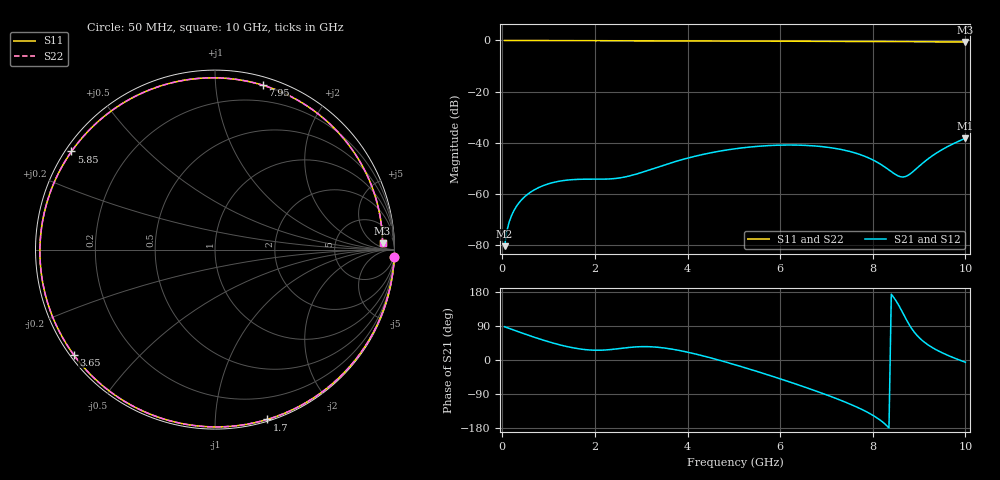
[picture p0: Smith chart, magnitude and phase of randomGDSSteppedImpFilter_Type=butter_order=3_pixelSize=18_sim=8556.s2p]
! freq	dB(S11)	phase(S11)	dB(S12)	phase(S12)
!  dB(S21)	phase(S21)	dB(S22)	phase(S22)
!S-par simulation data
#  GHz  S  DB  R 50
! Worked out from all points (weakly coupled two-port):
!   200 points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, 50 MHz to 10 GHz, reference 50 ohm
!   highest |S21| = -38.25 dB at 10 GHz (marker M1); lowest = -80.4 dB at 50 MHz (marker M2)
!   lowest |S11| = -0.6 dB at 10 GHz (marker M3), VSWR 29.40, Z = 1.13e+03 + j617 ohm
!   |S11| at or under -10 dB: nowhere
!   |S22| runs from -0.6 to 0.0 dB; largest |S21 - S12| = 0
!   S11 on the Smith chart (normalised r, x): 50 MHz: 0, -51; 1.7 GHz: 0.01, -1.35; 3.65 GHz: 0.01, -0.33; 5.85 GHz: 0.02, +0.31; 7.95 GHz: 0.07, +1.33; 10 GHz: 23, +12
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0.05  -0.00 -2.3  -80.42 87.8  -80.42 87.8  -0.00 -2.3
0.1  -0.00 -4.5  -74.41 85.5  -74.41 85.5  -0.00 -4.5
0.2  -0.01 -9.0  -68.44 81.1  -68.44 81.1  -0.01 -9.0
0.35  -0.02 -15.6  -63.72 74.5  -63.72 74.5  -0.02 -15.6
0.5  -0.03 -22.3  -60.83 68.0  -60.83 68.0  -0.03 -22.3
1  -0.05 -44.0  -56.02 48.1  -56.02 48.1  -0.05 -44.0
1.7  -0.09 -73.0  -54.26 28.8  -54.26 28.8  -0.09 -73.0
1.75  -0.09 -74.9  -54.24 28.0  -54.24 28.0  -0.09 -74.9
2.5  -0.12 -103.5  -53.82 29.7  -53.82 29.7  -0.12 -103.5
3.4  -0.15 -135.0  -49.26 33.1  -49.26 33.1  -0.15 -135.0
3.65  -0.16 -143.4  -47.81 29.0  -47.81 29.0  -0.16 -143.4
4.35  -0.19 -166.2  -44.49 10.4  -44.49 10.4  -0.19 -166.2
5.05  -0.23 171.4  -42.28 -13.4  -42.28 -13.4  -0.23 171.4
5.85  -0.28 145.6  -41.01 -43.7  -41.01 -43.7  -0.28 145.6
6.7  -0.33 117.4  -41.18 -78.7  -41.18 -78.7  -0.33 117.4
7.35  -0.37 95.0  -42.75 -108.3  -42.75 -108.3  -0.37 95.0
7.95  -0.41 73.8  -46.24 -142.2  -46.24 -142.2  -0.41 73.8
8.35  -0.44 59.5  -50.61 -179.4  -50.61 -179.4  -0.44 59.5
8.55  -0.45 52.4  -52.97 146.5  -52.97 146.5  -0.45 52.4
8.7  -0.46 47.1  -53.23 112.2  -53.23 112.2  -0.46 47.1
9.4  -0.52 22.4  -43.73 25.0  -43.73 25.0  -0.52 22.4
10  -0.59 2.1  -38.25 -5.9  -38.25 -5.9  -0.59 2.1
